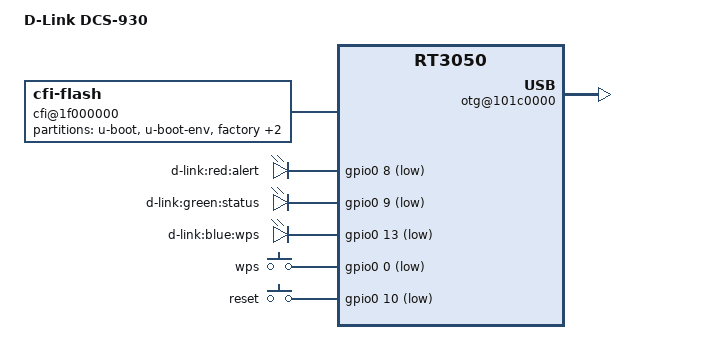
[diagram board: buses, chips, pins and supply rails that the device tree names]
/dts-v1/;

/include/ "rt3050.dtsi"

/ {
	compatible = "DCS-930", "ralink,rt3050-soc";
	model = "D-Link DCS-930";

	pinctrl {
		state_default: pinctrl0 {
			gpio {
				ralink,group = "i2c", "spi", "jtag", "mdio", "rgmii", "uartf";
				ralink,function = "gpio";
			};
		};
	};

	cfi@1f000000 {
		compatible = "cfi-flash";
		reg = <0x1f000000 0x400000>;

		bank-width = <2>;
		device-width = <2>;
		#address-cells = <1>;
		#size-cells = <1>;

		partition@0 {
			label = "u-boot";
			reg = <0x0 0x30000>;
			read-only;
		};

		partition@30000 {
			label = "u-boot-env";
			reg = <0x30000 0x10000>;
			read-only;
		};

		factory: partition@40000 {
			label = "factory";
			reg = <0x40000 0x10000>;
			read-only;
		};

		partition@50000 {
			label = "kernel";
			reg = <0x50000 0x150000>;
		};

		partition@150000 {
			label = "rootfs";
			reg = <0x150000 0x2b0000>;
		};

		partition {
			label = "firmware";
			reg = <0x50000 0x3b0000>;
		};
	};

	gpio-leds {
		compatible = "gpio-leds";
		wifi {
			label = "d-link:red:alert";
			gpios = <&gpio0 8 1>;
		};
		power {
			label = "d-link:green:status";
			gpios = <&gpio0 9 1>;
		};
		wps {
			label = "d-link:blue:wps";
			gpios = <&gpio0 13 1>;
		};
	};

	gpio-keys-polled {
		compatible = "gpio-keys-polled";
		#address-cells = <1>;
		#size-cells = <0>;
		poll-interval = <20>;

		wps {
			label = "wps";
			gpios = <&gpio0 0 1>;
			linux,code = <0x101>;
		};
		reset {
			label = "reset";
			gpios = <&gpio0 10 1>;
			linux,code = <0x198>;
		};
	};

	esw@10110000 {
		ralink,portmap = <0x2f>;

		port@0 {
			compatible = "swconfig,port";
			swconfig,segment = "lan";
			swconfig,portmap = <0 4>;
		};
		port@1 {
			compatible = "swconfig,port";
			swconfig,segment = "lan";
			swconfig,portmap = <1 3>;
		};
		port@2 {
			compatible = "swconfig,port";
			swconfig,segment = "lan";
			swconfig,portmap = <2 2>;
		};
		port@3 {
			compatible = "swconfig,port";
			swconfig,segment = "lan";
			swconfig,portmap = <3 1>;
		};
		port@4 {
			compatible = "swconfig,port";
			swconfig,segment = "wan";
			swconfig,portmap = <4 0>;
		};
	};

	wmac@10180000 {
		ralink,mtd-eeprom = <&factory 0>;
	};

	otg@101c0000 {
		status = "okay";
	};
};
